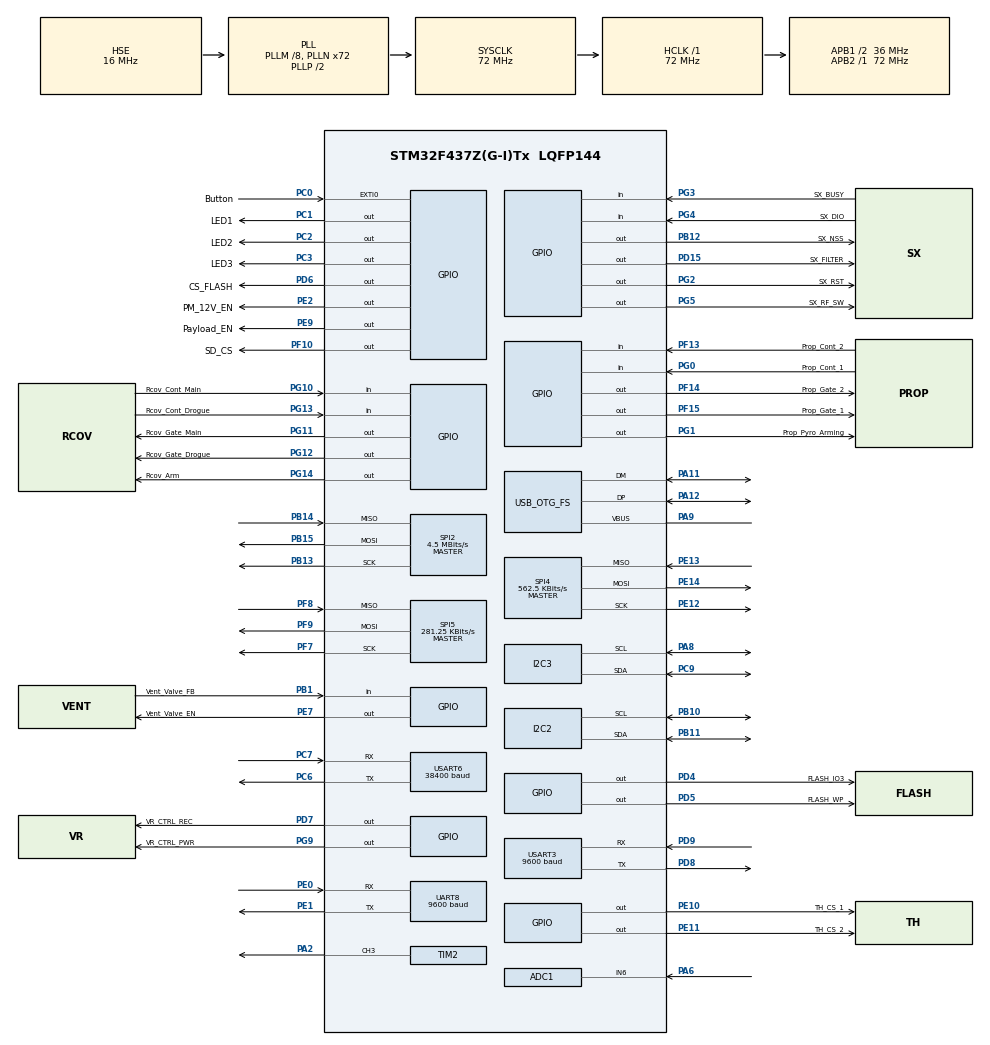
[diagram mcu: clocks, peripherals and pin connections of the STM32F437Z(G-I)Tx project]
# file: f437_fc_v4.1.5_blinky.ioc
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ADC1.Channel-0\#ChannelRegularConversion=ADC_CHANNEL_6
ADC1.NbrOfConversionFlag=1
ADC1.Rank-0\#ChannelRegularConversion=1
ADC1.SamplingTime-0\#ChannelRegularConversion=ADC_SAMPLETIME_480CYCLES
ADC1.master=1
Mcu.Family=STM32F4
Mcu.Name=STM32F437Z(G-I)Tx
Mcu.Package=LQFP144
NVIC.EXTI0_IRQn=true\:0\:0\:false\:false\:true\:true\:true
NVIC.OTG_FS_IRQn=true\:0\:0\:false\:false\:true\:false\:true
NVIC.PriorityGroup=NVIC_PRIORITYGROUP_4
NVIC.TIM2_IRQn=true\:0\:0\:false\:false\:true\:true\:true
PA11.Mode=Device_Only
PA11.Signal=USB_OTG_FS_DM
PA12.Mode=Device_Only
PA12.Signal=USB_OTG_FS_DP
PA13.Mode=Trace_Asynchronous_SW
PA13.Signal=SYS_JTMS-SWDIO
PA14.Mode=Trace_Asynchronous_SW
PA14.Signal=SYS_JTCK-SWCLK
PA2.Signal=S_TIM2_CH3
PA6.Signal=ADCx_IN6
PA8.Mode=I2C
PA8.Signal=I2C3_SCL
PA9.Mode=Activate_VBUS
PA9.Signal=USB_OTG_FS_VBUS
PB1.GPIO_Label=Vent_Valve_FB
PB1.Signal=GPIO_Input
PB10.Mode=I2C
PB10.Signal=I2C2_SCL
PB11.Mode=I2C
PB11.Signal=I2C2_SDA
PB12.GPIO_Label=SX_NSS
PB12.GPIO_PuPd=GPIO_PULLUP
PB12.Signal=GPIO_Output
PB13.Mode=Full_Duplex_Master
PB13.Signal=SPI2_SCK
PB14.Mode=Full_Duplex_Master
PB14.Signal=SPI2_MISO
PB15.Mode=Full_Duplex_Master
PB15.Signal=SPI2_MOSI
PB3.Mode=Trace_Asynchronous_SW
PB3.Signal=SYS_JTDO-SWO
PC0.GPIO_Label=Button
PC0.Signal=GPXTI0
PC1.GPIO_Label=LED1
PC1.Signal=GPIO_Output
PC14/OSC32_IN.Mode=LSE-External-Oscillator
PC14/OSC32_IN.Signal=RCC_OSC32_IN
PC15/OSC32_OUT.Mode=LSE-External-Oscillator
PC15/OSC32_OUT.Signal=RCC_OSC32_OUT
PC2.GPIO_Label=LED2
PC2.Signal=GPIO_Output
PC3.GPIO_Label=LED3
PC3.Signal=GPIO_Output
PC6.Mode=Asynchronous
PC6.Signal=USART6_TX
PC7.Mode=Asynchronous
PC7.Signal=USART6_RX
PC9.Mode=I2C
PC9.Signal=I2C3_SDA
PD15.GPIO_Label=SX_FILTER
PD15.Signal=GPIO_Output
PD4.GPIO_Label=FLASH_IO3
PD4.PinState=GPIO_PIN_RESET
PD4.Signal=GPIO_Output
PD5.GPIO_Label=FLASH_WP
PD5.PinState=GPIO_PIN_RESET
PD5.Signal=GPIO_Output
PD6.GPIO_Label=CS_FLASH
PD6.PinState=GPIO_PIN_RESET
PD6.Signal=GPIO_Output
PD7.GPIO_Label=VR_CTRL_REC
PD7.Signal=GPIO_Output
PD8.Mode=Asynchronous
PD8.Signal=USART3_TX
PD9.Mode=Asynchronous
PD9.Signal=USART3_RX
PE0.Mode=Asynchronous
PE0.Signal=UART8_RX
PE1.Mode=Asynchronous
PE1.Signal=UART8_TX
PE10.GPIO_Label=TH_CS_1
PE10.Signal=GPIO_Output
PE11.GPIO_Label=TH_CS_2
PE11.Signal=GPIO_Output
PE12.Mode=Full_Duplex_Master
PE12.Signal=SPI4_SCK
PE13.Mode=Full_Duplex_Master
PE13.Signal=SPI4_MISO
PE14.Mode=Full_Duplex_Master
PE14.Signal=SPI4_MOSI
PE2.GPIO_Label=PM_12V_EN
PE2.Signal=GPIO_Output
PE7.GPIO_Label=Vent_Valve_EN
PE7.Signal=GPIO_Output
PE9.GPIO_Label=Payload_EN
PE9.Signal=GPIO_Output
PF10.GPIO_Label=SD_CS
PF10.GPIO_PuPd=GPIO_PULLUP
PF10.Signal=GPIO_Output
PF13.GPIO_Label=Prop_Cont_2
PF13.Signal=GPIO_Input
PF14.GPIO_Label=Prop_Gate_2
PF14.Signal=GPIO_Output
PF15.GPIO_Label=Prop_Gate_1
PF15.Signal=GPIO_Output
PF7.GPIO_PuPd=GPIO_PULLUP
PF7.Mode=Full_Duplex_Master
PF7.Signal=SPI5_SCK
PF8.GPIO_PuPd=GPIO_PULLUP
PF8.Mode=Full_Duplex_Master
PF8.Signal=SPI5_MISO
PF9.GPIO_PuPd=GPIO_PULLUP
PF9.Mode=Full_Duplex_Master
PF9.Signal=SPI5_MOSI
PG0.GPIO_Label=Prop_Cont_1
PG0.Signal=GPIO_Input
PG1.GPIO_Label=Prop_Pyro_Arming
PG1.Signal=GPIO_Output
PG10.GPIO_Label=Rcov_Cont_Main
PG10.Signal=GPIO_Input
PG11.GPIO_Label=Rcov_Gate_Main
PG11.Signal=GPIO_Output
PG12.GPIO_Label=Rcov_Gate_Drogue
PG12.Signal=GPIO_Output
PG13.GPIO_Label=Rcov_Cont_Drogue
PG13.Signal=GPIO_Input
PG14.GPIO_Label=Rcov_Arm
PG14.Signal=GPIO_Output
PG2.GPIO_Label=SX_RST
PG2.Signal=GPIO_Output
PG3.GPIO_Label=SX_BUSY
PG3.Signal=GPIO_Input
PG4.GPIO_Label=SX_DIO
PG4.Signal=GPIO_Input
PG5.GPIO_Label=SX_RF_SW
PG5.Signal=GPIO_Output
PG9.GPIO_Label=VR_CTRL_PWR
PG9.Signal=GPIO_Output
PH0/OSC_IN.Mode=HSE-External-Oscillator
PH0/OSC_IN.Signal=RCC_OSC_IN
PH1/OSC_OUT.Mode=HSE-External-Oscillator
PH1/OSC_OUT.Signal=RCC_OSC_OUT
ProjectManager.HeapSize=0x200
ProjectManager.StackSize=0x400
ProjectManager.TargetToolchain=STM32CubeIDE
RCC.48MHZClocksFreq_Value=48000000
RCC.AHBFreq_Value=72000000
RCC.APB1CLKDivider=RCC_HCLK_DIV2
RCC.APB1Freq_Value=36000000
RCC.APB1TimFreq_Value=72000000
RCC.APB2Freq_Value=72000000
RCC.APB2TimFreq_Value=72000000
RCC.CortexFreq_Value=72000000
RCC.HCLKFreq_Value=72000000
RCC.HSE_VALUE=16000000
RCC.HSI_VALUE=16000000
RCC.PLLM=8
RCC.PLLN=72
RCC.PLLQ=3
RCC.SYSCLKFreq_VALUE=72000000
RCC.SYSCLKSource=RCC_SYSCLKSOURCE_PLLCLK
RCC.VCOOutputFreq_Value=144000000
SH.ADCx_IN6.0=ADC1_IN6,IN6
SH.S_TIM2_CH3.0=TIM2_CH3,PWM Generation3 CH3
SPI2.BaudRatePrescaler=SPI_BAUDRATEPRESCALER_8
SPI2.CalculateBaudRate=4.5 MBits/s
SPI2.Direction=SPI_DIRECTION_2LINES
SPI2.Mode=SPI_MODE_MASTER
SPI2.VirtualType=VM_MASTER
SPI4.BaudRatePrescaler=SPI_BAUDRATEPRESCALER_128
SPI4.CalculateBaudRate=562.5 KBits/s
SPI4.Direction=SPI_DIRECTION_2LINES
SPI4.Mode=SPI_MODE_MASTER
SPI4.VirtualType=VM_MASTER
SPI5.BaudRatePrescaler=SPI_BAUDRATEPRESCALER_256
SPI5.CalculateBaudRate=281.25 KBits/s
SPI5.Direction=SPI_DIRECTION_2LINES
SPI5.Mode=SPI_MODE_MASTER
SPI5.VirtualType=VM_MASTER
TIM2.Channel-PWM\ Generation3\ CH3=TIM_CHANNEL_3
TIM2.Period=1000
TIM2.Prescaler=50
TIM2.Pulse-PWM\ Generation3\ CH3=100
TIM2.TIM_MasterOutputTrigger=TIM_TRGO_UPDATE
UART8.BaudRate=9600
UART8.VirtualMode=Asynchronous
USART3.BaudRate=9600
USART3.VirtualMode=VM_ASYNC
USART6.BaudRate=38400
USART6.VirtualMode=VM_ASYNC
USB_DEVICE.CLASS_NAME_FS=CDC
USB_DEVICE.VirtualMode-CDC_FS=Cdc
USB_DEVICE.VirtualModeFS=Cdc_FS
USB_OTG_FS.VirtualMode=Device_Only
VP_FATFS_VS_Generic.Mode=User_defined
VP_TIM2_VS_ClockSourceINT.Mode=Internal
VP_USB_DEVICE_VS_USB_DEVICE_CDC_FS.Mode=CDC_FS
board=custom

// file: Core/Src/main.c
/* USER CODE BEGIN Header */
/**
  ******************************************************************************
  * @file           : main.c
  * @brief          : Main program body
  ******************************************************************************
  * @attention
  *
  * <h2><center>&copy; Copyright (c) 2021 STMicroelectronics.
  * All rights reserved.</center></h2>
  *
  * This software component is licensed by ST under BSD 3-Clause license,
  * the "License"; You may not use this file except in compliance with the
  * License. You may obtain a copy of the License at:
  *                        opensource.org/licenses/BSD-3-Clause
  *
  ******************************************************************************
  */
/* USER CODE END Header */
#include "main.h"
#include "fatfs.h"
#include "usb_device.h"

/* USER CODE BEGIN Includes */

// usb vcp
#include "usbd_cdc_if.h"
#include "string.h"

// sensors
#include "i2c_sensor_functions.h"
#include "gps.h"
#include "MAX31855.h"
#include "bme280.h"
#include "bme280_defs.h"

#include "sd_card.h"
#include "w25qxx.h" // external flash

// sradio
#include "sx126x.h"
#include "sx126x_regs.h"

/* USER CODE END Includes */

/* USER CODE BEGIN PD */

//#define TEST_BLINKY 						// pass
#define TEST_EJECTION 					// pass
//#define TEST_VR 							// pass
//#define TEST_SD_CARD_ALONE 				// pass
//#define TEST_SD_CARD_DYNAMIC_FILE_NAMES	// pass
//#define TEST_GPS_ALONE					// pass but GPS fix inconsistent sometimes
//#define TEST_FLASH_W25QXX_ALONE			// status?
//#define TEST_I2C_SENSORS_ALONE			// pass
//#define TEST_ALL_SENSORS_WITH_SD_CARD		// pass
//#define RECORD_VIDEO_WITH_TEST			// activates video recorder in TEST_ALL_SENSORS_WITH_SD_CARD
//#define OUTPUT_USB_WITH_TEST				// sends string to USB with TEST_ALL_SENSORS_WITH_SD_CARD

//#define TEST_USB_VCP_ALONE				// pass

//#define TEST_I2C_PAYLOAD

//#define WITH_SRADIO

//#define TEST_VENT_VALVE
//#define TEST_PRESSURE_TRANSDUCER_ADC
//#define TEST_THERMOCOUPLE_ADC

//#define HOLIDAY_LED_BLINKY

/* USER CODE END PD */

ADC_HandleTypeDef hadc1;

I2C_HandleTypeDef hi2c2;
I2C_HandleTypeDef hi2c3;

SPI_HandleTypeDef hspi2;
SPI_HandleTypeDef hspi4;
SPI_HandleTypeDef hspi5;

TIM_HandleTypeDef htim2;

UART_HandleTypeDef huart8;
UART_HandleTypeDef huart3;
UART_HandleTypeDef huart6;

/* USER CODE BEGIN PV */
volatile uint8_t start_ejection = 0;
volatile uint8_t timer_actuated_vent_valve = 0;

// i2c sensors
stmdev_ctx_t dev_ctx_lsm;
stmdev_ctx_t dev_ctx_lps;
float acceleration_mg[] = {0, 0, 0};
float angular_rate_mdps[]= {0, 0, 0};
float pressure_hPa = 0;
float temperature_degC = 0;

struct bme280_dev dev_bme280;

// gps data
float latitude;
float longitude;
float time;
static uint8_t gps_fix_lat = 0;
static uint8_t gps_fix_long = 0; // beep when we get fix

// sd card
FATFS FatFs; 	//Fatfs handle
FIL fil; 		//File handle
FRESULT fres; //Result after operations
static uint8_t msg_buffer[1000];

// external flash
extern w25qxx_t w25qxx;
uint8_t flash_write_buffer[256]; // page size is 256 bytes for w25qxx
uint8_t flash_read_buffer[256];
static volatile uint32_t flash_write_address = 0;

/* USER CODE END PV */

void SystemClock_Config(void);
static void MX_GPIO_Init(void);
static void MX_ADC1_Init(void);
static void MX_SPI4_Init(void);
static void MX_TIM2_Init(void);
static void MX_SPI5_Init(void);
static void MX_I2C3_Init(void);
static void MX_USART6_UART_Init(void);
static void MX_I2C2_Init(void);
static void MX_USART3_UART_Init(void);
static void MX_SPI2_Init(void);
static void MX_UART8_Init(void);
/* USER CODE BEGIN PFP */

// helpers
void tone(uint32_t duration, uint32_t repeats);

// bme280
void user_delay_ms(uint32_t period, void *intf_ptr);
int8_t user_i2c_read(uint8_t reg_addr, uint8_t *reg_data, uint32_t len, void *intf_ptr);
int8_t user_i2c_write(uint8_t reg_addr, uint8_t *reg_data, uint32_t len, void *intf_ptr);

// flash and sd
void save_flash_to_sd(void);

/* USER CODE END PFP */

int main(void)
{

  /* MCU Configuration--------------------------------------------------------*/

  /* Reset of all peripherals, Initializes the Flash interface and the Systick. */
  HAL_Init();

  /* Configure the system clock */
  SystemClock_Config();

  /* Initialize all configured peripherals */
  MX_GPIO_Init();
  MX_ADC1_Init();
  MX_SPI4_Init();
  MX_TIM2_Init();
  MX_SPI5_Init();
  MX_FATFS_Init();
  MX_I2C3_Init();
  MX_USART6_UART_Init();
  MX_I2C2_Init();
  MX_USB_DEVICE_Init();
  MX_USART3_UART_Init();
  MX_SPI2_Init();
  MX_UART8_Init();
  /* USER CODE BEGIN 2 */

  // reset LEDs
  HAL_GPIO_WritePin(LED1_GPIO_Port, LED1_Pin, RESET);
  HAL_GPIO_WritePin(LED2_GPIO_Port, LED2_Pin, RESET);
  HAL_GPIO_WritePin(LED3_GPIO_Port, LED3_Pin, RESET);

  // reset recovery pyro pins
  HAL_GPIO_WritePin(Rcov_Arm_GPIO_Port, Rcov_Arm_Pin, RESET);
  HAL_GPIO_WritePin(Rcov_Gate_Drogue_GPIO_Port, Rcov_Gate_Drogue_Pin, RESET);
  HAL_GPIO_WritePin(Rcov_Gate_Main_GPIO_Port, Rcov_Gate_Main_Pin, RESET);

  // reset prop pyro pins
  HAL_GPIO_WritePin(Prop_Pyro_Arming_GPIO_Port, Prop_Pyro_Arming_Pin, RESET);
  HAL_GPIO_WritePin(Prop_Gate_1_GPIO_Port, Prop_Gate_1_Pin, RESET);
  HAL_GPIO_WritePin(Prop_Gate_2_GPIO_Port, Prop_Gate_2_Pin, RESET);

  // reset 12 V buck converter enable pin (disable converter)
  HAL_GPIO_WritePin(PM_12V_EN_GPIO_Port, PM_12V_EN_Pin, RESET);
  HAL_GPIO_WritePin(Vent_Valve_EN_GPIO_Port, Vent_Valve_EN_Pin, RESET);

  // reset payload EN signal
  HAL_GPIO_WritePin(Payload_EN_GPIO_Port, Payload_EN_Pin, RESET);

  // set CS pin for thermocouple chip high
  //	HAL_GPIO_WritePin(TH_CS_1_GPIO_Port, TH_CS_1_Pin, SET);

  // set power off for VR
  HAL_GPIO_WritePin(VR_CTRL_PWR_GPIO_Port, VR_CTRL_PWR_Pin, RESET);
  HAL_GPIO_WritePin(VR_CTRL_REC_GPIO_Port, VR_CTRL_REC_Pin, RESET);

  // FLASH set CS, WP and IO3 pins high
  HAL_GPIO_WritePin(CS_FLASH_GPIO_Port, CS_FLASH_Pin, SET);
  HAL_GPIO_WritePin(FLASH_WP_GPIO_Port, FLASH_WP_Pin, SET);
  HAL_GPIO_WritePin(FLASH_IO3_GPIO_Port, FLASH_IO3_Pin, SET);

  dev_ctx_lsm = lsm6dsl_init();
  dev_ctx_lps = lps22hh_init();

#ifdef WITH_SRADIO
  set_hspi(hspi2);
  set_NSS_pin(SX_NSS_GPIO_Port, SX_NSS_Pin);
  set_BUSY_pin(SX_BUSY_GPIO_Port, SX_BUSY_Pin);
  set_NRESET_pin(SX_RST_GPIO_Port, SX_RST_Pin);
  set_DIO1_pin(SX_DIO_GPIO_Port, SX_DIO_Pin);
  Tx_setup();
#endif

#ifdef HOLIDAY_LED_BLINKY
	// use ejection channels to blink LEDs like Christmas lights
	while (1)
	{
		HAL_GPIO_WritePin(LED1_GPIO_Port, LED1_Pin, SET);
		HAL_GPIO_WritePin(Rcov_Arm_GPIO_Port, Rcov_Arm_Pin, SET);
		HAL_GPIO_WritePin(Prop_Pyro_Arming_GPIO_Port, Prop_Pyro_Arming_Pin, SET);

		HAL_GPIO_WritePin(Prop_Gate_1_GPIO_Port, Prop_Gate_1_Pin, SET);
		HAL_Delay(100);
		HAL_GPIO_WritePin(Prop_Gate_1_GPIO_Port, Prop_Gate_1_Pin, RESET);
		HAL_GPIO_WritePin(Prop_Gate_2_GPIO_Port, Prop_Gate_2_Pin, SET);
		HAL_Delay(100);
		HAL_GPIO_WritePin(Prop_Gate_2_GPIO_Port, Prop_Gate_2_Pin, RESET);
		HAL_GPIO_WritePin(Rcov_Gate_Main_GPIO_Port, Rcov_Gate_Main_Pin, SET);
		HAL_Delay(100);
		HAL_GPIO_WritePin(Rcov_Gate_Main_GPIO_Port, Rcov_Gate_Main_Pin, RESET);
		HAL_GPIO_WritePin(Rcov_Gate_Drogue_GPIO_Port, Rcov_Gate_Drogue_Pin, SET);
		HAL_Delay(100);
		HAL_GPIO_WritePin(Rcov_Gate_Drogue_GPIO_Port, Rcov_Gate_Drogue_Pin, RESET);
		HAL_Delay(100);
	}
#endif

#ifdef TEST_USB_VCP_ALONE

	char txBuf[100];
	uint8_t count = 1;

	while (1)
	{
		HAL_GPIO_TogglePin(LED1_GPIO_Port, LED1_Pin);

		sprintf(txBuf, "Printing via USB: count = %u\r\n", count);
		count++;
		if (count > 100)
			count = 1;

		CDC_Transmit_FS((uint8_t *)txBuf, strlen(txBuf));
		HAL_Delay(100);
	}
#endif

#ifdef TEST_I2C_PAYLOAD
	char msg_buffer[100]; // for usb vcp

	// testing i2c for payload over long wires
	int8_t rslt = BME280_OK;
	uint8_t dev_addr = BME280_I2C_ADDR_SEC;

	dev_bme280.intf_ptr = &dev_addr;
	dev_bme280.intf = BME280_I2C_INTF;
	dev_bme280.read = user_i2c_read;
	dev_bme280.write = user_i2c_write;
	dev_bme280.delay_us = user_delay_ms;

	rslt = bme280_init(&dev_bme280);
	HAL_Delay(100);

	if (rslt != 0) {
		HAL_GPIO_WritePin(LED1_GPIO_Port, LED1_Pin, SET); // turn LED on to indicate fault
		while (1);
	}
	struct bme280_data comp_data;

	uint8_t settings_sel;

	/* Recommended mode of operation: Indoor navigation */
	dev_bme280.settings.osr_h = BME280_OVERSAMPLING_1X;
	dev_bme280.settings.osr_p = BME280_OVERSAMPLING_16X;
	dev_bme280.settings.osr_t = BME280_OVERSAMPLING_2X;
	dev_bme280.settings.filter = BME280_FILTER_COEFF_16;
	dev_bme280.settings.standby_time = BME280_STANDBY_TIME_62_5_MS;

	settings_sel = BME280_OSR_PRESS_SEL;
	settings_sel |= BME280_OSR_TEMP_SEL;
	settings_sel |= BME280_OSR_HUM_SEL;
	settings_sel |= BME280_STANDBY_SEL;
	settings_sel |= BME280_FILTER_SEL;
	rslt = bme280_set_sensor_settings(settings_sel, &dev_bme280);
	rslt = bme280_set_sensor_mode(BME280_NORMAL_MODE, &dev_bme280);

	while (1)
	{
		int8_t status = bme280_get_sensor_data(BME280_ALL, &comp_data, &dev_bme280);
		if (status != 0)
		{
			HAL_GPIO_WritePin(LED1_GPIO_Port, LED1_Pin, SET);
			while (1);
		}

		sprintf((char*)msg_buffer, "Pressure = %d, Temperature = %d, Humidity = %d\r\n", comp_data.pressure, comp_data.temperature, comp_data.humidity);
		CDC_Transmit_FS((uint8_t *)msg_buffer, strlen(msg_buffer));

		HAL_Delay(100);
	}

#endif

#ifdef TEST_I2C_SENSORS_ALONE

	while (1)
	{
		HAL_GPIO_WritePin(LED1_GPIO_Port, LED1_Pin, SET);

		// lsm6dsl data
		get_acceleration(dev_ctx_lsm, acceleration_mg);
		get_angvelocity(dev_ctx_lsm, angular_rate_mdps);

		// lps22hh data
		get_pressure(dev_ctx_lps, &pressure_hPa);
		get_temperature(dev_ctx_lps, &temperature_degC);

		HAL_Delay(100);
		HAL_GPIO_WritePin(LED1_GPIO_Port, LED1_Pin, RESET);
		HAL_Delay(100);
	}
#endif

#ifdef TEST_GPS_ALONE
	while (1)
	{
		HAL_GPIO_WritePin(LED1_GPIO_Port, LED1_Pin, SET);
		GPS_Poll(&latitude, &longitude, &time);
		GPS_check_nonzero_data(latitude, longitude, &gps_fix_lat, &gps_fix_long);

		HAL_Delay(100);
		HAL_GPIO_WritePin(LED1_GPIO_Port, LED1_Pin, RESET);
		HAL_Delay(100);
	}
#endif

#ifdef TEST_FLASH_W25QXX_ALONE

	// easy test
	/*
	uint8_t buffer1[8] = {1, 2, 3, 4, 5, 6, 7, 8};
	uint8_t buffer2[8];

	// init FLASH
	if (W25qxx_Init()) {
		tone(250, 2); // init properly
	} else {
		tone(750, 2);
		Error_Handler(); // hangs and blinks LEDF
	}

	  W25qxx_EraseSector(1);
	  W25qxx_WriteSector(buffer1, 1, 0, 8);
	  W25qxx_ReadSector(buffer2, 1, 0, 8);

	  while (1);
	  */

	// harder test
	// init sd
	char filename[13]; // filename will be of form fc000000.txt which is 13 chars in the array (with null termination)
	fres = sd_init_dynamic_filename("FC", "S,PRESSURE_HPA,TEMP_DEG_C,ACCx,ACCy,ACCz,GYRx,GYRy,GYRz,LAT,LONG,E\r\n", filename);
	if (fres != FR_OK) {
		Error_Handler();
	}

	// init flash
	if (W25qxx_Init()) {
		tone(250, 2);
	} else {
		tone(750, 2);
		Error_Handler(); // hang and blinky
	}

	save_flash_to_sd(); // check if flash empty and write to sd card

	// open sd card file for simultaneous logging
	fres = f_open(&fil, filename, FA_WRITE | FA_OPEN_ALWAYS | FA_CREATE_ALWAYS);

	if (fres == FR_OK) {
		myprintf("I was able to open filename.txt for writing\r\n");
	} else {
		myprintf("f_open error (%i)\r\n", fres);
		return fres;
	}
	// set pointer to end of file to append
	f_lseek(&fil, f_size(&fil));

	// now make fake data
	while (1)
	{
		// flash should be cleared by now
		// create dummy data to be written to the flash chip
		for (uint32_t i = 0; i < 50; i++) // 300 for laughs
		{
//			sprintf((char *)flash_write_buffer, "S,%ld,0.12,253.70,280.00,-840.00,-560.00,0.0,1004.84,45.5052567,-73.5796127,20,10,34,17,%ld,%ldE,\r\n", i, 50-i,i);
			sprintf((char *)flash_write_buffer, "S,%ld,0.12,25.0,20.0,40.20,-5+0.0,0.0,1343204.z4,45.507,-73.5796127,20,10,34,17,%ld+%ld,%ldE,\r\n", i,i, 50-i,i);
			sd_write(&fil, flash_write_buffer);

			// calculate page address and offset based on number of bytes already written
			uint32_t page_address = (int) (flash_write_address / w25qxx.BlockSize);
			uint32_t page_offset = (int) (flash_write_address % w25qxx.BlockSize);

			W25qxx_WriteBlock(flash_write_buffer, page_address, page_offset, strlen((const char *)flash_write_buffer));
//			W25qxx_ReadBlock(flash_read_buffer, page_address, page_offset, strlen((const char *)flash_write_buffer));

			flash_write_address += strlen((const char *)flash_write_buffer);
		}

		f_close(&fil); // close logging file

		while (1)
		{
			HAL_GPIO_WritePin(LED1_GPIO_Port, LED1_Pin, SET);
			HAL_Delay(100);
		}
	}
#endif

#ifdef TEST_ALL_SENSORS_WITH_SD_CARD

//	sd_init("fcdata.txt", "S,PRESSURE_HPA,TEMP_DEG_C,ACCx,ACCy,ACCz,GYRx,GYRy,GYRz,LAT,LONG,E\r\n");
	char filename[13]; // filename will be of form fc000000.txt which is 13 chars in the array (with null termination)
	fres = sd_init_dynamic_filename("FC", "S,PRESSURE_HPA,TEMP_DEG_C,ACCx,ACCy,ACCz,GYRx,GYRy,GYRz,LAT,LONG,E\r\n", filename);
	if (fres != FR_OK)
		Error_Handler();

#ifdef RECORD_VIDEO_WITH_TEST
	// successful init, can start video recorder
	// power on
	HAL_GPIO_WritePin(VR_CTRL_PWR_GPIO_Port, VR_CTRL_PWR_Pin, SET);

	HAL_Delay(5000);
	// start recording?
	HAL_GPIO_WritePin(VR_CTRL_REC_GPIO_Port, VR_CTRL_REC_Pin, SET);
	HAL_Delay(400);
	HAL_GPIO_WritePin(VR_CTRL_REC_GPIO_Port, VR_CTRL_REC_Pin, RESET);
	HAL_Delay(400);
	HAL_GPIO_WritePin(VR_CTRL_REC_GPIO_Port, VR_CTRL_REC_Pin, SET);
	HAL_Delay(400);
	HAL_GPIO_WritePin(VR_CTRL_REC_GPIO_Port, VR_CTRL_REC_Pin, RESET);
#endif

	while (1)
	{
		// poll data
		HAL_GPIO_WritePin(LED1_GPIO_Port, LED1_Pin, SET);
		// lsm6dsl data
		get_acceleration(dev_ctx_lsm, acceleration_mg);
		get_angvelocity(dev_ctx_lsm, angular_rate_mdps);

		// lps22hh data
		get_pressure(dev_ctx_lps, &pressure_hPa);
		get_temperature(dev_ctx_lps, &temperature_degC);

		// use beeper for GPS to make sure we know whether coordinates are nonzero
		GPS_Poll(&latitude, &longitude, &time);
		GPS_check_nonzero_data(latitude, longitude, &gps_fix_lat, &gps_fix_long);

		// make buffer with data and save
		sprintf((char *)msg_buffer, "S,%03.2f,%03.2f,%03.2f,%03.2f,%03.2f,%03.2f,%03.2f,%03.2f,%03.7f,%03.7f,E\n",
				pressure_hPa, temperature_degC,
				acceleration_mg[0], acceleration_mg[1], acceleration_mg[2],
				angular_rate_mdps[0], angular_rate_mdps[1], angular_rate_mdps[2],
				latitude, longitude);

		// XTend
		HAL_UART_Transmit(&huart8, msg_buffer, strlen(msg_buffer), HAL_MAX_DELAY);

		// SRADio
//		TxProtocol(msg_buffer, strlen(msg_buffer));

		fres = sd_open_file(filename);
		if (fres == FR_OK) {
			myprintf("I was able to open filename.txt for writing\r\n");
		} else {
			myprintf("f_open error (%i)\r\n", fres);
		}
		sd_write(&fil, msg_buffer);

#ifdef OUTPUT_USB_WITH_TEST
		CDC_Transmit_FS((uint8_t *)msg_buffer, strlen((char *)msg_buffer));
#endif

		HAL_GPIO_WritePin(LED1_GPIO_Port, LED1_Pin, RESET);
		HAL_Delay(100);

		// close file
		f_close(&fil);

		if (start_ejection) // stop when button pressed
			break;
	}

#ifdef RECORD_VIDEO_WITH_TEST
	// stop recording
	HAL_GPIO_WritePin(VR_CTRL_REC_GPIO_Port, VR_CTRL_REC_Pin, SET);
	HAL_Delay(1000);
	HAL_GPIO_WritePin(VR_CTRL_REC_GPIO_Port, VR_CTRL_REC_Pin, RESET);
#endif

	while (1); // stop here

#endif

	// start timer
#ifdef TEST_VENT_VALVE
	HAL_TIM_Base_Start_IT(&htim2); // doing PWM of the valve
#endif

#ifdef TEST_BLINKY
	uint8_t counter = 0;
	while (1)
	{
		HAL_GPIO_TogglePin(LED1_GPIO_Port, LED1_Pin);
		HAL_GPIO_TogglePin(LED2_GPIO_Port, LED2_Pin);
		HAL_GPIO_TogglePin(LED3_GPIO_Port, LED3_Pin);

		char msg_buffer[1000];
		sprintf(msg_buffer, "printing count = %d!\r\n", counter++);

		if (counter > 100) counter = 0;
		HAL_UART_Transmit(&huart8, msg_buffer, strlen(msg_buffer), HAL_MAX_DELAY);

		HAL_Delay(200);
	}

#endif

#ifdef TEST_SD_CARD_ALONE
	  HAL_Delay(1000); //a short delay is important to let the SD card settle

	  //Open the file system
	  fres = f_mount(&FatFs, "", 1); //1=mount now
	  if (fres != FR_OK) {
		myprintf("f_mount error (%i)\r\n", fres);
		while(1);
	  }

	  //Now let's try to open file "test.txt"
	  fres = f_open(&fil, "test.txt", FA_READ);
	  if (fres != FR_OK) {
		myprintf("f_open error (%i)\r\n");
		while(1);
	  }
	  myprintf("I was able to open 'test.txt' for reading!\r\n");

	  //Read 30 bytes from "test.txt" on the SD card
	  BYTE readBuf[30];

	  //We can either use f_read OR f_gets to get data out of files
	  //f_gets is a wrapper on f_read that does some string formatting for us
	  TCHAR* rres = f_gets((TCHAR*)readBuf, 30, &fil);
	  if(rres != 0) {
		myprintf("Read string from 'test.txt' contents: %s\r\n", readBuf);
	  } else {
		myprintf("f_gets error (%i)\r\n", fres);
	  }

	  //Be a tidy kiwi - don't forget to close your file!
	  f_close(&fil);

	  //Now let's try and write a file "write.txt"
	  fres = f_open(&fil, "write_10.txt", FA_WRITE | FA_OPEN_ALWAYS | FA_CREATE_ALWAYS);
	  if(fres == FR_OK) {
		myprintf("I was able to open 'write.txt' for writing\r\n");
	  } else {
		myprintf("f_open error (%i)\r\n", fres);
	  }

	  //Copy in a string
	  strncpy((char*)readBuf, "a new file is made!", 19);
	  UINT bytesWrote;
	  fres = f_write(&fil, readBuf, 19, &bytesWrote);
	  if(fres == FR_OK) {
		myprintf("Wrote %i bytes to 'write.txt'!\r\n", bytesWrote);
	  } else {
		myprintf("f_write error (%i)\r\n");
	  }

	  //Be a tidy kiwi - don't forget to close your file!
	  f_close(&fil);

	  //We're done, so de-mount the drive
	  f_mount(NULL, "", 0);

	  while (1); // stop here
#endif

#ifdef TEST_SD_CARD_DYNAMIC_FILE_NAMES
	  HAL_Delay(1000); //a short delay is important to let the SD card settle

	  //Open the file system
	  fres = f_mount(&FatFs, "", 1); //1=mount now
	  if (fres != FR_OK) {
		myprintf("f_mount error (%i)\r\n", fres);
		while(1);
	  }

	  char buff[256];
	  strcpy(buff, "/");

	  char filename[13]; // filename will be of form fc000000.txt which is 13 chars in the array (with null termination)
	  sd_init_dynamic_filename("FC", "S,PRESSURE_HPA,TEMP_DEG_C,ACCx,ACCy,ACCz,GYRx,GYRy,GYRz,LAT,LONG,E\r\n", filename);

	  while (1);

#endif

#ifdef TEST_VR
	  // power on
	  HAL_GPIO_WritePin(VR_CTRL_PWR_GPIO_Port, VR_CTRL_PWR_Pin, SET);

	  HAL_Delay(5000);
	  // start recording
	  HAL_GPIO_WritePin(VR_CTRL_REC_GPIO_Port, VR_CTRL_REC_Pin, SET);
	  HAL_Delay(400);
	  HAL_GPIO_WritePin(VR_CTRL_REC_GPIO_Port, VR_CTRL_REC_Pin, RESET);
	  HAL_Delay(400);
	  HAL_GPIO_WritePin(VR_CTRL_REC_GPIO_Port, VR_CTRL_REC_Pin, SET);
	  HAL_Delay(400);
	  HAL_GPIO_WritePin(VR_CTRL_REC_GPIO_Port, VR_CTRL_REC_Pin, RESET);

	  HAL_Delay(15000); // approx 12 seconds of recording

	  // stop recording
	  HAL_GPIO_WritePin(VR_CTRL_REC_GPIO_Port, VR_CTRL_REC_Pin, SET);
	  HAL_Delay(1000);
	  HAL_GPIO_WritePin(VR_CTRL_REC_GPIO_Port, VR_CTRL_REC_Pin, RESET);

	  while (1); // stop here

#endif
  /* USER CODE END 2 */

  /* Infinite loop */
  /* USER CODE BEGIN WHILE */
  while (1)
  {
#ifdef TEST_EJECTION
	  if (start_ejection)
	  {
		  // indicate arming occurred
		  HAL_TIM_PWM_Start(&htim2, TIM_CHANNEL_3);
		  HAL_Delay(2000); // wait so i can probe voltage
		  start_ejection = 0;
		  HAL_TIM_PWM_Stop(&htim2, TIM_CHANNEL_3);
		  HAL_GPIO_WritePin(LED1_GPIO_Port, LED1_Pin, SET);
		  HAL_GPIO_WritePin(Rcov_Arm_GPIO_Port, Rcov_Arm_Pin, SET);
		  HAL_GPIO_WritePin(Prop_Pyro_Arming_GPIO_Port, Prop_Pyro_Arming_Pin, SET);
		  HAL_GPIO_WritePin(Payload_EN_GPIO_Port, Payload_EN_Pin, SET);

		  while (!start_ejection);

		  HAL_Delay(1000);
		  start_ejection = 0;

		  GPIO_PinState cont_drogue = HAL_GPIO_ReadPin(Rcov_Cont_Drogue_GPIO_Port, Rcov_Cont_Drogue_Pin);
		  GPIO_PinState cont_main = HAL_GPIO_ReadPin(Rcov_Cont_Main_GPIO_Port, Rcov_Cont_Main_Pin);

		  GPIO_PinState cont_prop_1 = HAL_GPIO_ReadPin(Prop_Cont_1_GPIO_Port, Prop_Cont_1_Pin);
		  GPIO_PinState cont_prop_2 = HAL_GPIO_ReadPin(Prop_Cont_2_GPIO_Port, Prop_Cont_2_Pin);

		  HAL_GPIO_WritePin(Rcov_Gate_Drogue_GPIO_Port, Rcov_Gate_Drogue_Pin, SET); // fire drogue and main
//		  HAL_GPIO_WritePin(Rcov_Gate_Main_GPIO_Port, Rcov_Gate_Main_Pin, SET);

//		  HAL_GPIO_WritePin(Prop_Gate_1_GPIO_Port, Prop_Gate_1_Pin, SET); // prop pyro channels
//		  HAL_GPIO_WritePin(Prop_Gate_2_GPIO_Port, Prop_Gate_2_Pin, SET);

		  HAL_Delay(100);

		  HAL_GPIO_WritePin(Rcov_Gate_Drogue_GPIO_Port, Rcov_Gate_Drogue_Pin, RESET);
		  HAL_GPIO_WritePin(Rcov_Gate_Main_GPIO_Port, Rcov_Gate_Main_Pin, RESET);

		  while (!start_ejection);
		  HAL_Delay(1000);

		  HAL_GPIO_WritePin(Rcov_Gate_Main_GPIO_Port, Rcov_Gate_Main_Pin, SET);
		  HAL_Delay(100);
		  HAL_GPIO_WritePin(Rcov_Gate_Main_GPIO_Port, Rcov_Gate_Main_Pin, RESET);

		  HAL_GPIO_WritePin(Prop_Gate_1_GPIO_Port, Prop_Gate_1_Pin, RESET);
		  HAL_GPIO_WritePin(Prop_Gate_2_GPIO_Port, Prop_Gate_2_Pin, RESET);
		  HAL_GPIO_WritePin(Payload_EN_GPIO_Port, Payload_EN_Pin, RESET);

		  HAL_GPIO_WritePin(LED2_GPIO_Port, LED2_Pin, SET);

		  HAL_Delay(1000);

		  start_ejection = 0; // allow button press to trigger it again
		  HAL_GPIO_WritePin(Rcov_Arm_GPIO_Port, Rcov_Arm_Pin, RESET);
		  HAL_GPIO_WritePin(Prop_Pyro_Arming_GPIO_Port, Prop_Pyro_Arming_Pin, RESET);
		  HAL_GPIO_WritePin(LED1_GPIO_Port, LED1_Pin, RESET);
		  HAL_GPIO_WritePin(LED2_GPIO_Port, LED2_Pin, RESET);

	  }
#endif

//	  HAL_Delay(5000);

#ifdef TEST_VENT_VALVE
	  HAL_GPIO_WritePin(PM_12V_EN_GPIO_Port, PM_12V_EN_Pin, SET);

	  while (0)
	  {
		  GPIO_PinState vent_valve_fb_before = HAL_GPIO_ReadPin(Vent_Valve_FB_GPIO_Port, Vent_Valve_FB_Pin);
		  HAL_GPIO_WritePin(LED2_GPIO_Port, LED2_Pin, vent_valve_fb_before);
		  HAL_GPIO_TogglePin(LED1_GPIO_Port, LED1_Pin);
		  HAL_GPIO_TogglePin(Vent_Valve_EN_GPIO_Port, Vent_Valve_EN_Pin);
		  GPIO_PinState vent_valve_fb_after = HAL_GPIO_ReadPin(Vent_Valve_FB_GPIO_Port, Vent_Valve_FB_Pin);
		  HAL_GPIO_WritePin(LED3_GPIO_Port, LED3_Pin, vent_valve_fb_after);
		  HAL_Delay(1);
	  }

	  while (1)
	  {
		  if (timer_actuated_vent_valve)
		  {
			  timer_actuated_vent_valve = 0;
			  HAL_GPIO_TogglePin(Vent_Valve_EN_GPIO_Port, Vent_Valve_EN_Pin);
		  }

	  }
#endif

#ifdef TEST_PRESSURE_TRANSDUCER_ADC
	  HAL_GPIO_WritePin(PM_12V_EN_GPIO_Port, PM_12V_EN_Pin, SET);
	  while (1)
	  {
		  HAL_ADC_Start(&hadc1);
		  HAL_ADC_PollForConversion(&hadc1, 1000);
		  uint32_t pressure_sensor_raw = HAL_ADC_GetValue(&hadc1);
		  HAL_ADC_Stop(&hadc1);

		  float voltage = (float) (pressure_sensor_raw / 4095.0);

		  HAL_Delay(500);
	  }
#endif

#ifdef TEST_THERMOCOUPLE_ADC
	  while (1) {
		  float th_temp = Max31855_Read_Temp();
	  	  HAL_Delay(500);
	  }
#endif
    /* USER CODE END WHILE */

  }
}

void SystemClock_Config(void)
{
  RCC_OscInitTypeDef RCC_OscInitStruct = {0};
  RCC_ClkInitTypeDef RCC_ClkInitStruct = {0};

  /** Configure the main internal regulator output voltage
  */
  __HAL_RCC_PWR_CLK_ENABLE();
  __HAL_PWR_VOLTAGESCALING_CONFIG(PWR_REGULATOR_VOLTAGE_SCALE3);
  /** Initializes the RCC Oscillators according to the specified parameters
  * in the RCC_OscInitTypeDef structure.
  */
  RCC_OscInitStruct.OscillatorType = RCC_OSCILLATORTYPE_HSE;
  RCC_OscInitStruct.HSEState = RCC_HSE_ON;
  RCC_OscInitStruct.PLL.PLLState = RCC_PLL_ON;
  RCC_OscInitStruct.PLL.PLLSource = RCC_PLLSOURCE_HSE;
  RCC_OscInitStruct.PLL.PLLM = 8;
  RCC_OscInitStruct.PLL.PLLN = 72;
  RCC_OscInitStruct.PLL.PLLP = RCC_PLLP_DIV2;
  RCC_OscInitStruct.PLL.PLLQ = 3;
  if (HAL_RCC_OscConfig(&RCC_OscInitStruct) != HAL_OK)
  {
    Error_Handler();
  }
  /** Initializes the CPU, AHB and APB buses clocks
  */
  RCC_ClkInitStruct.ClockType = RCC_CLOCKTYPE_HCLK|RCC_CLOCKTYPE_SYSCLK
                              |RCC_CLOCKTYPE_PCLK1|RCC_CLOCKTYPE_PCLK2;
  RCC_ClkInitStruct.SYSCLKSource = RCC_SYSCLKSOURCE_PLLCLK;
  RCC_ClkInitStruct.AHBCLKDivider = RCC_SYSCLK_DIV1;
  RCC_ClkInitStruct.APB1CLKDivider = RCC_HCLK_DIV2;
  RCC_ClkInitStruct.APB2CLKDivider = RCC_HCLK_DIV1;

  if (HAL_RCC_ClockConfig(&RCC_ClkInitStruct, FLASH_LATENCY_2) != HAL_OK)
  {
    Error_Handler();
  }
}

static void MX_ADC1_Init(void)
{

  ADC_ChannelConfTypeDef sConfig = {0};

  /** Configure the global features of the ADC (Clock, Resolution, Data Alignment and number of conversion)
  */
  hadc1.Instance = ADC1;
  hadc1.Init.ClockPrescaler = ADC_CLOCK_SYNC_PCLK_DIV2;
  hadc1.Init.Resolution = ADC_RESOLUTION_12B;
  hadc1.Init.ScanConvMode = DISABLE;
  hadc1.Init.ContinuousConvMode = DISABLE;
  hadc1.Init.DiscontinuousConvMode = DISABLE;
  hadc1.Init.ExternalTrigConvEdge = ADC_EXTERNALTRIGCONVEDGE_NONE;
  hadc1.Init.ExternalTrigConv = ADC_SOFTWARE_START;
  hadc1.Init.DataAlign = ADC_DATAALIGN_RIGHT;
  hadc1.Init.NbrOfConversion = 1;
  hadc1.Init.DMAContinuousRequests = DISABLE;
  hadc1.Init.EOCSelection = ADC_EOC_SINGLE_CONV;
  if (HAL_ADC_Init(&hadc1) != HAL_OK)
  {
    Error_Handler();
  }
  /** Configure for the selected ADC regular channel its corresponding rank in the sequencer and its sample time.
  */
  sConfig.Channel = ADC_CHANNEL_6;
  sConfig.Rank = 1;
  sConfig.SamplingTime = ADC_SAMPLETIME_480CYCLES;
  if (HAL_ADC_ConfigChannel(&hadc1, &sConfig) != HAL_OK)
  {
    Error_Handler();
  }

}

static void MX_I2C2_Init(void)
{

  hi2c2.Instance = I2C2;
  hi2c2.Init.ClockSpeed = 100000;
  hi2c2.Init.DutyCycle = I2C_DUTYCYCLE_2;
  hi2c2.Init.OwnAddress1 = 0;
  hi2c2.Init.AddressingMode = I2C_ADDRESSINGMODE_7BIT;
  hi2c2.Init.DualAddressMode = I2C_DUALADDRESS_DISABLE;
  hi2c2.Init.OwnAddress2 = 0;
  hi2c2.Init.GeneralCallMode = I2C_GENERALCALL_DISABLE;
  hi2c2.Init.NoStretchMode = I2C_NOSTRETCH_DISABLE;
  if (HAL_I2C_Init(&hi2c2) != HAL_OK)
  {
    Error_Handler();
  }
  /** Configure Analogue filter
  */
  if (HAL_I2CEx_ConfigAnalogFilter(&hi2c2, I2C_ANALOGFILTER_ENABLE) != HAL_OK)
  {
    Error_Handler();
  }
  /** Configure Digital filter
  */
  if (HAL_I2CEx_ConfigDigitalFilter(&hi2c2, 0) != HAL_OK)
  {
    Error_Handler();
  }

}

static void MX_I2C3_Init(void)
{

  hi2c3.Instance = I2C3;
  hi2c3.Init.ClockSpeed = 100000;
  hi2c3.Init.DutyCycle = I2C_DUTYCYCLE_2;
  hi2c3.Init.OwnAddress1 = 0;
  hi2c3.Init.AddressingMode = I2C_ADDRESSINGMODE_7BIT;
  hi2c3.Init.DualAddressMode = I2C_DUALADDRESS_DISABLE;
  hi2c3.Init.OwnAddress2 = 0;
  hi2c3.Init.GeneralCallMode = I2C_GENERALCALL_DISABLE;
  hi2c3.Init.NoStretchMode = I2C_NOSTRETCH_DISABLE;
  if (HAL_I2C_Init(&hi2c3) != HAL_OK)
  {
    Error_Handler();
  }
  /** Configure Analogue filter
  */
  if (HAL_I2CEx_ConfigAnalogFilter(&hi2c3, I2C_ANALOGFILTER_ENABLE) != HAL_OK)
  {
    Error_Handler();
  }
  /** Configure Digital filter
  */
  if (HAL_I2CEx_ConfigDigitalFilter(&hi2c3, 0) != HAL_OK)
  {
    Error_Handler();
  }

}

static void MX_SPI2_Init(void)
{

  /* SPI2 parameter configuration*/
  hspi2.Instance = SPI2;
  hspi2.Init.Mode = SPI_MODE_MASTER;
  hspi2.Init.Direction = SPI_DIRECTION_2LINES;
  hspi2.Init.DataSize = SPI_DATASIZE_8BIT;
  hspi2.Init.CLKPolarity = SPI_POLARITY_LOW;
  hspi2.Init.CLKPhase = SPI_PHASE_1EDGE;
  hspi2.Init.NSS = SPI_NSS_SOFT;
  hspi2.Init.BaudRatePrescaler = SPI_BAUDRATEPRESCALER_8;
  hspi2.Init.FirstBit = SPI_FIRSTBIT_MSB;
  hspi2.Init.TIMode = SPI_TIMODE_DISABLE;
  hspi2.Init.CRCCalculation = SPI_CRCCALCULATION_DISABLE;
  hspi2.Init.CRCPolynomial = 10;
  if (HAL_SPI_Init(&hspi2) != HAL_OK)
  {
    Error_Handler();
  }

}

static void MX_SPI4_Init(void)
{

  /* SPI4 parameter configuration*/
  hspi4.Instance = SPI4;
  hspi4.Init.Mode = SPI_MODE_MASTER;
  hspi4.Init.Direction = SPI_DIRECTION_2LINES;
  hspi4.Init.DataSize = SPI_DATASIZE_8BIT;
  hspi4.Init.CLKPolarity = SPI_POLARITY_LOW;
  hspi4.Init.CLKPhase = SPI_PHASE_1EDGE;
  hspi4.Init.NSS = SPI_NSS_SOFT;
  hspi4.Init.BaudRatePrescaler = SPI_BAUDRATEPRESCALER_128;
  hspi4.Init.FirstBit = SPI_FIRSTBIT_MSB;
  hspi4.Init.TIMode = SPI_TIMODE_DISABLE;
  hspi4.Init.CRCCalculation = SPI_CRCCALCULATION_DISABLE;
  hspi4.Init.CRCPolynomial = 10;
  if (HAL_SPI_Init(&hspi4) != HAL_OK)
  {
    Error_Handler();
  }

}

static void MX_SPI5_Init(void)
{

  /* SPI5 parameter configuration*/
  hspi5.Instance = SPI5;
  hspi5.Init.Mode = SPI_MODE_MASTER;
  hspi5.Init.Direction = SPI_DIRECTION_2LINES;
  hspi5.Init.DataSize = SPI_DATASIZE_8BIT;
  hspi5.Init.CLKPolarity = SPI_POLARITY_LOW;
  hspi5.Init.CLKPhase = SPI_PHASE_1EDGE;
  hspi5.Init.NSS = SPI_NSS_SOFT;
  hspi5.Init.BaudRatePrescaler = SPI_BAUDRATEPRESCALER_256;
  hspi5.Init.FirstBit = SPI_FIRSTBIT_MSB;
  hspi5.Init.TIMode = SPI_TIMODE_DISABLE;
  hspi5.Init.CRCCalculation = SPI_CRCCALCULATION_DISABLE;
  hspi5.Init.CRCPolynomial = 10;
  if (HAL_SPI_Init(&hspi5) != HAL_OK)
  {
    Error_Handler();
  }

}

static void MX_TIM2_Init(void)
{

  TIM_ClockConfigTypeDef sClockSourceConfig = {0};
  TIM_MasterConfigTypeDef sMasterConfig = {0};
  TIM_OC_InitTypeDef sConfigOC = {0};

  htim2.Instance = TIM2;
  htim2.Init.Prescaler = 50;
  htim2.Init.CounterMode = TIM_COUNTERMODE_UP;
  htim2.Init.Period = 1000;
  htim2.Init.ClockDivision = TIM_CLOCKDIVISION_DIV1;
  htim2.Init.AutoReloadPreload = TIM_AUTORELOAD_PRELOAD_DISABLE;
  if (HAL_TIM_Base_Init(&htim2) != HAL_OK)
  {
    Error_Handler();
  }
  sClockSourceConfig.ClockSource = TIM_CLOCKSOURCE_INTERNAL;
  if (HAL_TIM_ConfigClockSource(&htim2, &sClockSourceConfig) != HAL_OK)
  {
    Error_Handler();
  }
  if (HAL_TIM_PWM_Init(&htim2) != HAL_OK)
  {
    Error_Handler();
  }
  sMasterConfig.MasterOutputTrigger = TIM_TRGO_UPDATE;
  sMasterConfig.MasterSlaveMode = TIM_MASTERSLAVEMODE_DISABLE;
  if (HAL_TIMEx_MasterConfigSynchronization(&htim2, &sMasterConfig) != HAL_OK)
  {
    Error_Handler();
  }
  sConfigOC.OCMode = TIM_OCMODE_PWM1;
  sConfigOC.Pulse = 100;
  sConfigOC.OCPolarity = TIM_OCPOLARITY_HIGH;
  sConfigOC.OCFastMode = TIM_OCFAST_DISABLE;
  if (HAL_TIM_PWM_ConfigChannel(&htim2, &sConfigOC, TIM_CHANNEL_3) != HAL_OK)
  {
    Error_Handler();
  }
  HAL_TIM_MspPostInit(&htim2);

}

static void MX_UART8_Init(void)
{

  huart8.Instance = UART8;
  huart8.Init.BaudRate = 9600;
  huart8.Init.WordLength = UART_WORDLENGTH_8B;
  huart8.Init.StopBits = UART_STOPBITS_1;
  huart8.Init.Parity = UART_PARITY_NONE;
  huart8.Init.Mode = UART_MODE_TX_RX;
  huart8.Init.HwFlowCtl = UART_HWCONTROL_NONE;
  huart8.Init.OverSampling = UART_OVERSAMPLING_16;
  if (HAL_UART_Init(&huart8) != HAL_OK)
  {
    Error_Handler();
  }

}

static void MX_USART3_UART_Init(void)
{

  huart3.Instance = USART3;
  huart3.Init.BaudRate = 9600;
  huart3.Init.WordLength = UART_WORDLENGTH_8B;
  huart3.Init.StopBits = UART_STOPBITS_1;
  huart3.Init.Parity = UART_PARITY_NONE;
  huart3.Init.Mode = UART_MODE_TX_RX;
  huart3.Init.HwFlowCtl = UART_HWCONTROL_NONE;
  huart3.Init.OverSampling = UART_OVERSAMPLING_16;
  if (HAL_UART_Init(&huart3) != HAL_OK)
  {
    Error_Handler();
  }

}

static void MX_USART6_UART_Init(void)
{

  huart6.Instance = USART6;
  huart6.Init.BaudRate = 38400;
  huart6.Init.WordLength = UART_WORDLENGTH_8B;
  huart6.Init.StopBits = UART_STOPBITS_1;
  huart6.Init.Parity = UART_PARITY_NONE;
  huart6.Init.Mode = UART_MODE_TX_RX;
  huart6.Init.HwFlowCtl = UART_HWCONTROL_NONE;
  huart6.Init.OverSampling = UART_OVERSAMPLING_16;
  if (HAL_UART_Init(&huart6) != HAL_OK)
  {
    Error_Handler();
  }

}

static void MX_GPIO_Init(void)
{
  GPIO_InitTypeDef GPIO_InitStruct = {0};

  /* GPIO Ports Clock Enable */
  __HAL_RCC_GPIOE_CLK_ENABLE();
  __HAL_RCC_GPIOC_CLK_ENABLE();
  __HAL_RCC_GPIOF_CLK_ENABLE();
  __HAL_RCC_GPIOH_CLK_ENABLE();
  __HAL_RCC_GPIOA_CLK_ENABLE();
  __HAL_RCC_GPIOB_CLK_ENABLE();
  __HAL_RCC_GPIOG_CLK_ENABLE();
  __HAL_RCC_GPIOD_CLK_ENABLE();

  /*Configure GPIO pin Output Level */
  HAL_GPIO_WritePin(GPIOE, PM_12V_EN_Pin|Vent_Valve_EN_Pin|Payload_EN_Pin|TH_CS_1_Pin
                          |TH_CS_2_Pin, GPIO_PIN_RESET);

  /*Configure GPIO pin Output Level */
  HAL_GPIO_WritePin(GPIOF, SD_CS_Pin|Prop_Gate_2_Pin|Prop_Gate_1_Pin, GPIO_PIN_RESET);

  /*Configure GPIO pin Output Level */
  HAL_GPIO_WritePin(GPIOC, LED1_Pin|LED2_Pin|LED3_Pin, GPIO_PIN_RESET);

  /*Configure GPIO pin Output Level */
  HAL_GPIO_WritePin(GPIOG, Prop_Pyro_Arming_Pin|SX_RST_Pin|SX_RF_SW_Pin|VR_CTRL_PWR_Pin
                          |Rcov_Gate_Main_Pin|Rcov_Gate_Drogue_Pin|Rcov_Arm_Pin, GPIO_PIN_RESET);

  /*Configure GPIO pin Output Level */
  HAL_GPIO_WritePin(SX_NSS_GPIO_Port, SX_NSS_Pin, GPIO_PIN_RESET);

  /*Configure GPIO pin Output Level */
  HAL_GPIO_WritePin(GPIOD, SX_FILTER_Pin|FLASH_IO3_Pin|FLASH_WP_Pin|CS_FLASH_Pin
                          |VR_CTRL_REC_Pin, GPIO_PIN_RESET);

  /*Configure GPIO pins : PM_12V_EN_Pin Vent_Valve_EN_Pin Payload_EN_Pin TH_CS_1_Pin
                           TH_CS_2_Pin */
  GPIO_InitStruct.Pin = PM_12V_EN_Pin|Vent_Valve_EN_Pin|Payload_EN_Pin|TH_CS_1_Pin
                          |TH_CS_2_Pin;
  GPIO_InitStruct.Mode = GPIO_MODE_OUTPUT_PP;
  GPIO_InitStruct.Pull = GPIO_NOPULL;
  GPIO_InitStruct.Speed = GPIO_SPEED_FREQ_LOW;
  HAL_GPIO_Init(GPIOE, &GPIO_InitStruct);

  /*Configure GPIO pin : SD_CS_Pin */
  GPIO_InitStruct.Pin = SD_CS_Pin;
  GPIO_InitStruct.Mode = GPIO_MODE_OUTPUT_PP;
  GPIO_InitStruct.Pull = GPIO_PULLUP;
  GPIO_InitStruct.Speed = GPIO_SPEED_FREQ_LOW;
  HAL_GPIO_Init(SD_CS_GPIO_Port, &GPIO_InitStruct);

  /*Configure GPIO pin : Button_Pin */
  GPIO_InitStruct.Pin = Button_Pin;
  GPIO_InitStruct.Mode = GPIO_MODE_IT_RISING;
  GPIO_InitStruct.Pull = GPIO_NOPULL;
  HAL_GPIO_Init(Button_GPIO_Port, &GPIO_InitStruct);

  /*Configure GPIO pins : LED1_Pin LED2_Pin LED3_Pin */
  GPIO_InitStruct.Pin = LED1_Pin|LED2_Pin|LED3_Pin;
  GPIO_InitStruct.Mode = GPIO_MODE_OUTPUT_PP;
  GPIO_InitStruct.Pull = GPIO_NOPULL;
  GPIO_InitStruct.Speed = GPIO_SPEED_FREQ_LOW;
  HAL_GPIO_Init(GPIOC, &GPIO_InitStruct);

  /*Configure GPIO pin : Vent_Valve_FB_Pin */
  GPIO_InitStruct.Pin = Vent_Valve_FB_Pin;
  GPIO_InitStruct.Mode = GPIO_MODE_INPUT;
  GPIO_InitStruct.Pull = GPIO_NOPULL;
  HAL_GPIO_Init(Vent_Valve_FB_GPIO_Port, &GPIO_InitStruct);

  /*Configure GPIO pin : Prop_Cont_2_Pin */
  GPIO_InitStruct.Pin = Prop_Cont_2_Pin;
  GPIO_InitStruct.Mode = GPIO_MODE_INPUT;
  GPIO_InitStruct.Pull = GPIO_NOPULL;
  HAL_GPIO_Init(Prop_Cont_2_GPIO_Port, &GPIO_InitStruct);

  /*Configure GPIO pins : Prop_Gate_2_Pin Prop_Gate_1_Pin */
  GPIO_InitStruct.Pin = Prop_Gate_2_Pin|Prop_Gate_1_Pin;
  GPIO_InitStruct.Mode = GPIO_MODE_OUTPUT_PP;
  GPIO_InitStruct.Pull = GPIO_NOPULL;
  GPIO_InitStruct.Speed = GPIO_SPEED_FREQ_LOW;
  HAL_GPIO_Init(GPIOF, &GPIO_InitStruct);

  /*Configure GPIO pins : Prop_Cont_1_Pin SX_BUSY_Pin SX_DIO_Pin Rcov_Cont_Main_Pin
                           Rcov_Cont_Drogue_Pin */
  GPIO_InitStruct.Pin = Prop_Cont_1_Pin|SX_BUSY_Pin|SX_DIO_Pin|Rcov_Cont_Main_Pin
                          |Rcov_Cont_Drogue_Pin;
  GPIO_InitStruct.Mode = GPIO_MODE_INPUT;
  GPIO_InitStruct.Pull = GPIO_NOPULL;
  HAL_GPIO_Init(GPIOG, &GPIO_InitStruct);

  /*Configure GPIO pins : Prop_Pyro_Arming_Pin SX_RST_Pin SX_RF_SW_Pin VR_CTRL_PWR_Pin
                           Rcov_Gate_Main_Pin Rcov_Gate_Drogue_Pin Rcov_Arm_Pin */
  GPIO_InitStruct.Pin = Prop_Pyro_Arming_Pin|SX_RST_Pin|SX_RF_SW_Pin|VR_CTRL_PWR_Pin
                          |Rcov_Gate_Main_Pin|Rcov_Gate_Drogue_Pin|Rcov_Arm_Pin;
  GPIO_InitStruct.Mode = GPIO_MODE_OUTPUT_PP;
  GPIO_InitStruct.Pull = GPIO_NOPULL;
  GPIO_InitStruct.Speed = GPIO_SPEED_FREQ_LOW;
  HAL_GPIO_Init(GPIOG, &GPIO_InitStruct);

  /*Configure GPIO pin : SX_NSS_Pin */
  GPIO_InitStruct.Pin = SX_NSS_Pin;
  GPIO_InitStruct.Mode = GPIO_MODE_OUTPUT_PP;
  GPIO_InitStruct.Pull = GPIO_PULLUP;
  GPIO_InitStruct.Speed = GPIO_SPEED_FREQ_LOW;
  HAL_GPIO_Init(SX_NSS_GPIO_Port, &GPIO_InitStruct);

  /*Configure GPIO pins : SX_FILTER_Pin FLASH_IO3_Pin FLASH_WP_Pin CS_FLASH_Pin
                           VR_CTRL_REC_Pin */
  GPIO_InitStruct.Pin = SX_FILTER_Pin|FLASH_IO3_Pin|FLASH_WP_Pin|CS_FLASH_Pin
                          |VR_CTRL_REC_Pin;
  GPIO_InitStruct.Mode = GPIO_MODE_OUTPUT_PP;
  GPIO_InitStruct.Pull = GPIO_NOPULL;
  GPIO_InitStruct.Speed = GPIO_SPEED_FREQ_LOW;
  HAL_GPIO_Init(GPIOD, &GPIO_InitStruct);

  /* EXTI interrupt init*/
  HAL_NVIC_SetPriority(EXTI0_IRQn, 0, 0);
  HAL_NVIC_EnableIRQ(EXTI0_IRQn);

}

/* USER CODE BEGIN 4 */

void HAL_GPIO_EXTI_Callback(uint16_t GPIO_Pin)
{
	if (GPIO_Pin == Button_Pin)
	{
		start_ejection = 1;
	}
}

void HAL_TIM_PeriodElapsedCallback(TIM_HandleTypeDef *htim) {

#ifdef TEST_VENT_VALVE
	if (htim == &htim2)
	{
//		HAL_GPIO_TogglePin(LED1_GPIO_Port, LED1_Pin);
//		HAL_GPIO_TogglePin(Vent_Valve_EN_GPIO_Port, Vent_Valve_EN_Pin);
		timer_actuated_vent_valve = 1;
	}
#endif
}

/**
 * reads data out of external FLASH and saves to SD card.
 * erases the used flash after finished.
 *
 * assumes f_mount has already been run.
 * this function does not close the file system.
 * opens a file "datalog.txt" and closes it when finished.
 */
void save_flash_to_sd(void)
{
	// FLASH variables
	uint32_t page_num = 0;
	uint16_t page_bytes = w25qxx.PageSize; // 256 bytes saved per page
	uint8_t readBuf[page_bytes];
	uint16_t page_address;

	// write to file
	fres = f_open(&fil, "flashlog.txt",
			FA_WRITE | FA_OPEN_ALWAYS);

	if (fres == FR_OK) {
		myprintf("I was able to open 'datalog.txt' for writing\r\n");
	} else {
		myprintf("f_open error (%i)\r\n", fres);
	}
	// set pointer to end of file
	f_lseek(&fil, f_size(&fil));

	// print string to indicate new log session
	sprintf((char *)msg_buffer, "\n--- new logging session! ---\r\n");
	sd_write(&fil, msg_buffer);

	for (page_num = 0; page_num < w25qxx.PageCount; page_num++)
	{
//		page_address = page_num * w25qxx.PageSize;

		if (!W25qxx_IsEmptyPage(page_num, 0, page_bytes))
//		if ((!W25qxx_IsEmptyPage(page_num, 0, page_bytes)) || page_num < 5)
		{
			// page not empty, read page out of flash
			W25qxx_ReadPage(readBuf, page_num, 0, page_bytes);

			// save to SD
			int8_t status = sd_write(&fil, readBuf);
			if (status <= 0) {
				HAL_GPIO_WritePin(LED1_GPIO_Port, LED1_Pin, SET);
			}
		}
		else break; // page empty, no need to continue
	}

	// close file
	f_close(&fil);

	if (page_num == 0) // nothing saved
	{
		tone(50, 5);
		while (!start_ejection);
		start_ejection = 0;
		tone(50, 3);
	}
	else
	{
		// wait for button press to erase
		tone(250, 3);
		while (!start_ejection);
		start_ejection = 0;

	//	W25qxx_EraseChip();

		// clear the blocks with data
		uint32_t blocks_to_clear = W25qxx_PageToBlock(page_num);
		for (uint32_t block = 0; block <= blocks_to_clear; block++)
		{
			W25qxx_EraseBlock(block);
		}

		// notify that erase is finished
		tone(100, 3);
		while (!start_ejection);
		start_ejection = 0;

		tone(50, 3);
	}

}

void tone(uint32_t duration, uint32_t repeats)
{
	for (uint32_t i = 0; i < repeats; i++)
	{
		HAL_TIM_PWM_Start(&htim2, TIM_CHANNEL_3);
		HAL_Delay(duration); // wait so i can probe voltage
		HAL_TIM_PWM_Stop(&htim2, TIM_CHANNEL_3);
		HAL_Delay(duration);
	}
}

void user_delay_ms(uint32_t period, void *intf_ptr)
{
    /*
     * Return control or wait,
     * for a period amount of milliseconds
     */
	HAL_Delay(50);
}

int8_t user_i2c_read(uint8_t reg_addr, uint8_t *reg_data, uint32_t len, void *intf_ptr)
{
    /* Return 0 for Success, non-zero for failure */

    /*
     * The parameter intf_ptr can be used as a variable to store the I2C address of the device
     */

    /*
     * Data on the bus should be like
     * |------------+---------------------|
     * | I2C action | Data                |
     * |------------+---------------------|
     * | Start      | -                   |
     * | Write      | (reg_addr)          |
     * | Stop       | -                   |
     * | Start      | -                   |
     * | Read       | (reg_data[0])       |
     * | Read       | (....)              |
     * | Read       | (reg_data[len - 1]) |
     * | Stop       | -                   |
     * |------------+---------------------|
     */
    HAL_StatusTypeDef status = HAL_I2C_Mem_Read(&hi2c2, (BME280_I2C_ADDR_SEC << 1), reg_addr, I2C_MEMADD_SIZE_8BIT, reg_data, len, HAL_MAX_DELAY);
    return (status == HAL_OK ? 0 : 1);

}

int8_t user_i2c_write(uint8_t reg_addr, uint8_t *reg_data, uint32_t len, void *intf_ptr)
{
    /* Return 0 for Success, non-zero for failure */

    /*
     * The parameter intf_ptr can be used as a variable to store the I2C address of the device
     */

    /*
     * Data on the bus should be like
     * |------------+---------------------|
     * | I2C action | Data                |
     * |------------+---------------------|
     * | Start      | -                   |
     * | Write      | (reg_addr)          |
     * | Write      | (reg_data[0])       |
     * | Write      | (....)              |
     * | Write      | (reg_data[len - 1]) |
     * | Stop       | -                   |
     * |------------+---------------------|
     */

    HAL_StatusTypeDef status = HAL_I2C_Mem_Write(&hi2c2, (BME280_I2C_ADDR_SEC << 1), reg_addr, I2C_MEMADD_SIZE_8BIT, reg_data, len, HAL_MAX_DELAY);
	return (status == HAL_OK ? 0 : 1);
}

/* USER CODE END 4 */

void Error_Handler(void)
{
  /* USER CODE BEGIN Error_Handler_Debug */
  /* User can add his own implementation to report the HAL error return state */
//  __disable_irq();
  HAL_GPIO_WritePin(LED3_GPIO_Port, LED3_Pin, SET); // error occurred, fatal

  HAL_TIM_PWM_Start(&htim2, TIM_CHANNEL_3);
  HAL_Delay(1000);
  HAL_TIM_PWM_Stop(&htim2, TIM_CHANNEL_3);
  while (1)
  {
	  HAL_GPIO_TogglePin(LED3_GPIO_Port, LED3_Pin); // error occurred, fatal
	  HAL_Delay(500);
  }
  /* USER CODE END Error_Handler_Debug */
}

/************************ (C) COPYRIGHT STMicroelectronics *****END OF FILE****/
